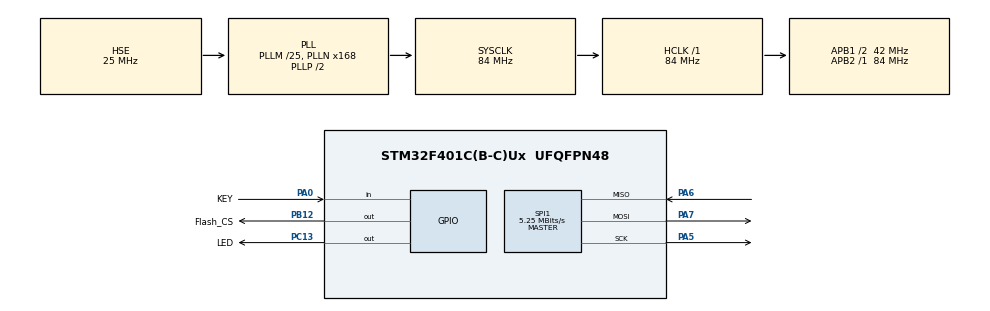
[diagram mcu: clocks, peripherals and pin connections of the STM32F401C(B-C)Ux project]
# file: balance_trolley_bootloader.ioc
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Mcu.Family=STM32F4
Mcu.Name=STM32F401C(B-C)Ux
Mcu.Package=UFQFPN48
NVIC.PriorityGroup=NVIC_PRIORITYGROUP_4
PA0-WKUP.GPIO_Label=KEY
PA0-WKUP.GPIO_PuPd=GPIO_PULLUP
PA0-WKUP.Signal=GPIO_Input
PA13.Mode=Serial_Wire
PA13.Signal=SYS_JTMS-SWDIO
PA14.Mode=Serial_Wire
PA14.Signal=SYS_JTCK-SWCLK
PA5.Mode=Full_Duplex_Master
PA5.Signal=SPI1_SCK
PA6.Mode=Full_Duplex_Master
PA6.Signal=SPI1_MISO
PA7.Mode=Full_Duplex_Master
PA7.Signal=SPI1_MOSI
PB12.GPIO_Label=Flash_CS
PB12.GPIO_PuPd=GPIO_PULLUP
PB12.GPIO_Speed=GPIO_SPEED_FREQ_HIGH
PB12.PinState=GPIO_PIN_SET
PB12.Signal=GPIO_Output
PC13-ANTI_TAMP.GPIO_Label=LED
PC13-ANTI_TAMP.GPIO_PuPd=GPIO_PULLUP
PC13-ANTI_TAMP.PinState=GPIO_PIN_SET
PC13-ANTI_TAMP.Signal=GPIO_Output
PC14-OSC32_IN.Mode=LSE-External-Oscillator
PC14-OSC32_IN.Signal=RCC_OSC32_IN
PC15-OSC32_OUT.Mode=LSE-External-Oscillator
PC15-OSC32_OUT.Signal=RCC_OSC32_OUT
PH0\ -\ OSC_IN.Mode=HSE-External-Oscillator
PH0\ -\ OSC_IN.Signal=RCC_OSC_IN
PH1\ -\ OSC_OUT.Mode=HSE-External-Oscillator
PH1\ -\ OSC_OUT.Signal=RCC_OSC_OUT
ProjectManager.HeapSize=0x200
ProjectManager.StackSize=0x400
ProjectManager.TargetToolchain=MDK-ARM V5.32
RCC.48MHZClocksFreq_Value=42000000
RCC.AHBFreq_Value=84000000
RCC.APB1CLKDivider=RCC_HCLK_DIV2
RCC.APB1Freq_Value=42000000
RCC.APB1TimFreq_Value=84000000
RCC.APB2Freq_Value=84000000
RCC.APB2TimFreq_Value=84000000
RCC.CortexFreq_Value=84000000
RCC.HCLKFreq_Value=84000000
RCC.HSE_VALUE=25000000
RCC.HSI_VALUE=16000000
RCC.PLLM=25
RCC.PLLN=168
RCC.PLLSourceVirtual=RCC_PLLSOURCE_HSE
RCC.SYSCLKFreq_VALUE=84000000
RCC.SYSCLKSource=RCC_SYSCLKSOURCE_PLLCLK
RCC.VCOOutputFreq_Value=168000000
SPI1.BaudRatePrescaler=SPI_BAUDRATEPRESCALER_16
SPI1.CalculateBaudRate=5.25 MBits/s
SPI1.Direction=SPI_DIRECTION_2LINES
SPI1.Mode=SPI_MODE_MASTER
SPI1.VirtualType=VM_MASTER
board=custom

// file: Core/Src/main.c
/* USER CODE BEGIN Header */
/**
  ******************************************************************************
  * @file           : main.c
  * @brief          : Main program body
  ******************************************************************************
  * @attention
  *
  * Copyright (c) 2022 STMicroelectronics.
  * All rights reserved.
  *
  * This software is licensed under terms that can be found in the LICENSE file
  * in the root directory of this software component.
  * If no LICENSE file comes with this software, it is provided AS-IS.
  *
  ******************************************************************************
  */
/* USER CODE END Header */
#include "main.h"
#include "spi.h"
#include "gpio.h"

/* USER CODE BEGIN Includes */
#include "sys.h"
#include "w25qxx.h"
#include "stmflash.h"
/* USER CODE END Includes */

void SystemClock_Config(void);

/* USER CODE BEGIN 0 */
/**
 * @bieaf 进行BootLoader的启动
 *
 * @param  none
 * @return none
 */
void bootloader_start(void)
{
    /*==========打印消息==========*/

    switch(read_start_mode())										//读取是否启动应用程序
    {
		case STARTUP_NORMAL:										//正常启动
		{
			RTT_printf(0, "> normal start......\r\n");
			break;
		}
		case STARTUP_UPDATE:										//升级再启动
		{
			RTT_printf(0, "> start update......\r\n");

			move_code(APPLICATION_1_ADDR,0,app_size);

			RTT_printf(0, "> update success......\r\n");
			break;
		}
		case STARTUP_RESET:											//恢复出厂设置 目前没使用
		{
			RTT_printf(0, "> restore to factory program......\r\n");
			break;
		}
		default:													//启动失败
		{
			RTT_printf(0, "> error:%X!!!......\r\n", read_start_mode());
			return;
		}
    }

    /* 跳转到应用程序 */
    RTT_printf(0, "> start up......\r\n\r\n");

    iap_execute_app(APPLICATION_1_ADDR);
}

/* USER CODE END 0 */

int main(void)
{

  /* MCU Configuration--------------------------------------------------------*/

  /* Reset of all peripherals, Initializes the Flash interface and the Systick. */
  HAL_Init();

  /* Configure the system clock */
  SystemClock_Config();

  /* Initialize all configured peripherals */
  MX_GPIO_Init();
  MX_SPI1_Init();
  /* USER CODE BEGIN 2 */
    RTT_printf(0, "> BootLoader Compile Time: %s  %s\n", __DATE__, __TIME__);  //运行日期打印

    W25QXX_Init();  //初始化FLASH

    if(W25QXX_ReadID() == W25Q64)
    {
        //RTT_printf(0, "> SPI FLASH OK:%#x\r\n",W25QXX_ReadID());
    }
    else
    {
        RTT_printf(0, "> SPI FLASH error:%#x\r\n",W25QXX_ReadID());
        for(;;);
    }

    bootloader_start();
  /* USER CODE END 2 */

  /* Infinite loop */
  while (1)
  {

  }
}

void SystemClock_Config(void)
{
  RCC_OscInitTypeDef RCC_OscInitStruct = {0};
  RCC_ClkInitTypeDef RCC_ClkInitStruct = {0};

  /** Configure the main internal regulator output voltage
  */
  __HAL_RCC_PWR_CLK_ENABLE();
  __HAL_PWR_VOLTAGESCALING_CONFIG(PWR_REGULATOR_VOLTAGE_SCALE2);

  /** Initializes the RCC Oscillators according to the specified parameters
  * in the RCC_OscInitTypeDef structure.
  */
  RCC_OscInitStruct.OscillatorType = RCC_OSCILLATORTYPE_HSE;
  RCC_OscInitStruct.HSEState = RCC_HSE_ON;
  RCC_OscInitStruct.PLL.PLLState = RCC_PLL_ON;
  RCC_OscInitStruct.PLL.PLLSource = RCC_PLLSOURCE_HSE;
  RCC_OscInitStruct.PLL.PLLM = 25;
  RCC_OscInitStruct.PLL.PLLN = 168;
  RCC_OscInitStruct.PLL.PLLP = RCC_PLLP_DIV2;
  RCC_OscInitStruct.PLL.PLLQ = 4;
  if (HAL_RCC_OscConfig(&RCC_OscInitStruct) != HAL_OK)
  {
    Error_Handler();
  }

  /** Initializes the CPU, AHB and APB buses clocks
  */
  RCC_ClkInitStruct.ClockType = RCC_CLOCKTYPE_HCLK|RCC_CLOCKTYPE_SYSCLK
                              |RCC_CLOCKTYPE_PCLK1|RCC_CLOCKTYPE_PCLK2;
  RCC_ClkInitStruct.SYSCLKSource = RCC_SYSCLKSOURCE_PLLCLK;
  RCC_ClkInitStruct.AHBCLKDivider = RCC_SYSCLK_DIV1;
  RCC_ClkInitStruct.APB1CLKDivider = RCC_HCLK_DIV2;
  RCC_ClkInitStruct.APB2CLKDivider = RCC_HCLK_DIV1;

  if (HAL_RCC_ClockConfig(&RCC_ClkInitStruct, FLASH_LATENCY_2) != HAL_OK)
  {
    Error_Handler();
  }
}

void Error_Handler(void)
{
  __disable_irq();
  while (1)
  {
  }
}

#ifdef  USE_FULL_ASSERT
/**
  * @brief  Reports the name of the source file and the source line number
  *         where the assert_param error has occurred.
  * @param  file: pointer to the source file name
  * @param  line: assert_param error line source number
  * @retval None
  */
void assert_failed(uint8_t *file, uint32_t line)
{
  /* USER CODE BEGIN 6 */
  /* User can add his own implementation to report the file name and line number,
     ex: RTT_printf(0, "Wrong parameters value: file %s on line %d\r\n", file, line) */
  /* USER CODE END 6 */
}
#endif /* USE_FULL_ASSERT */
